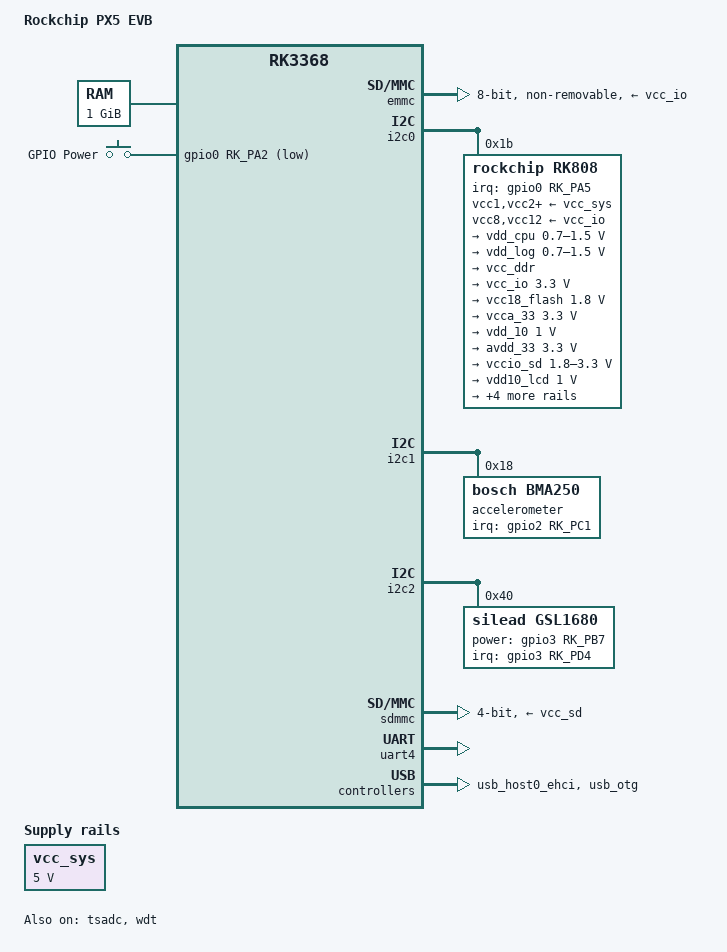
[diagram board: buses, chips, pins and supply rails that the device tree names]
// SPDX-License-Identifier: (GPL-2.0+ OR MIT)
/*
 * Copyright (c) 2016 Fuzhou Rockchip Electronics Co., Ltd
 */

/dts-v1/;
#include "rk3368.dtsi"
#include <dt-bindings/input/input.h>

/ {
	model = "Rockchip PX5 EVB";
	compatible = "rockchip,px5-evb", "rockchip,px5", "rockchip,rk3368";

	chosen {
		stdout-path = "serial4:115200n8";
	};

	memory@0 {
		reg = <0x0 0x0 0x0 0x40000000>;
		device_type = "memory";
	};

	keys: gpio-keys {
		compatible = "gpio-keys";
		pinctrl-names = "default";
		pinctrl-0 = <&pwr_key>;

		power {
			gpios = <&gpio0 RK_PA2 GPIO_ACTIVE_LOW>;
			label = "GPIO Power";
			linux,code = <KEY_POWER>;
			wakeup-source;
		};
	};

	vcc_sys: vcc-sys-regulator {
		compatible = "regulator-fixed";
		regulator-name = "vcc_sys";
		regulator-min-microvolt = <5000000>;
		regulator-max-microvolt = <5000000>;
		regulator-always-on;
		regulator-boot-on;
	};
};

&emmc {
	status = "okay";
	bus-width = <8>;
	cap-mmc-highspeed;
	clock-frequency = <150000000>;
	disable-wp;
	mmc-hs200-1_8v;
	no-sdio;
	no-sd;
	non-removable;
	pinctrl-names = "default";
	pinctrl-0 = <&emmc_clk>, <&emmc_cmd>, <&emmc_bus8>;
	vmmc-supply = <&vcc_io>;
	vqmmc-supply = <&vcc18_flash>;
};

&i2c0 {
	status = "okay";

	rk808: pmic@1b {
		compatible = "rockchip,rk808";
		reg = <0x1b>;
		interrupt-parent = <&gpio0>;
		interrupts = <RK_PA5 IRQ_TYPE_LEVEL_LOW>;
		pinctrl-names = "default";
		pinctrl-0 = <&pmic_int>, <&pmic_sleep>;
		rockchip,system-power-controller;
		vcc1-supply = <&vcc_sys>;
		vcc2-supply = <&vcc_sys>;
		vcc3-supply = <&vcc_sys>;
		vcc4-supply = <&vcc_sys>;
		vcc6-supply = <&vcc_sys>;
		vcc7-supply = <&vcc_sys>;
		vcc8-supply = <&vcc_io>;
		vcc9-supply = <&vcc_sys>;
		vcc10-supply = <&vcc_sys>;
		vcc11-supply = <&vcc_sys>;
		vcc12-supply = <&vcc_io>;
		clock-output-names = "xin32k", "rk808-clkout2";
		#clock-cells = <1>;

		regulators {
			vdd_cpu: DCDC_REG1 {
				regulator-always-on;
				regulator-boot-on;
				regulator-min-microvolt = <700000>;
				regulator-max-microvolt = <1500000>;
				regulator-name = "vdd_cpu";
			};

			vdd_log: DCDC_REG2 {
				regulator-always-on;
				regulator-boot-on;
				regulator-min-microvolt = <700000>;
				regulator-max-microvolt = <1500000>;
				regulator-name = "vdd_log";
			};

			vcc_ddr: DCDC_REG3 {
				regulator-always-on;
				regulator-boot-on;
				regulator-name = "vcc_ddr";
			};

			vcc_io: DCDC_REG4 {
				regulator-always-on;
				regulator-boot-on;
				regulator-min-microvolt = <3300000>;
				regulator-max-microvolt = <3300000>;
				regulator-name = "vcc_io";
			};

			vcc18_flash: LDO_REG1 {
				regulator-always-on;
				regulator-boot-on;
				regulator-min-microvolt = <1800000>;
				regulator-max-microvolt = <1800000>;
				regulator-name = "vcc18_flash";
			};

			vcca_33: LDO_REG2 {
				regulator-always-on;
				regulator-boot-on;
				regulator-min-microvolt = <3300000>;
				regulator-max-microvolt = <3300000>;
				regulator-name = "vcca_33";
			};

			vdd_10: LDO_REG3 {
				regulator-always-on;
				regulator-boot-on;
				regulator-min-microvolt = <1000000>;
				regulator-max-microvolt = <1000000>;
				regulator-name = "vdd_10";
			};

			avdd_33: LDO_REG4 {
				regulator-min-microvolt = <3300000>;
				regulator-max-microvolt = <3300000>;
				regulator-name = "avdd_33";
			};

			vccio_sd: LDO_REG5 {
				regulator-always-on;
				regulator-boot-on;
				regulator-min-microvolt = <1800000>;
				regulator-max-microvolt = <3300000>;
				regulator-name = "vccio_sd";
			};

			vdd10_lcd: LDO_REG6 {
				regulator-always-on;
				regulator-boot-on;
				regulator-min-microvolt = <1000000>;
				regulator-max-microvolt = <1000000>;
				regulator-name = "vdd10_lcd";
			};

			vcc_18: LDO_REG7 {
				regulator-always-on;
				regulator-boot-on;
				regulator-min-microvolt = <1800000>;
				regulator-max-microvolt = <1800000>;
				regulator-name = "vcc_18";
			};

			vcc18_lcd: LDO_REG8 {
				regulator-always-on;
				regulator-boot-on;
				regulator-min-microvolt = <1800000>;
				regulator-max-microvolt = <1800000>;
				regulator-name = "vcc18_lcd";
			};

			vcc_sd: SWITCH_REG1 {
				regulator-name = "vcc_sd";
			};

			vcc33_lcd: SWITCH_REG2 {
				regulator-always-on;
				regulator-boot-on;
				regulator-name = "vcc33_lcd";
			};
		};
	};
};

&i2c1 {
	status = "okay";

	accelerometer@18 {
		compatible = "bosch,bma250";
		reg = <0x18>;
		interrupt-parent = <&gpio2>;
		interrupts = <RK_PC1 IRQ_TYPE_LEVEL_LOW>;
	};
};

&i2c2 {
	status = "okay";

	gsl1680: touchscreen@40 {
		compatible = "silead,gsl1680";
		reg = <0x40>;
		interrupt-parent = <&gpio3>;
		interrupts = <RK_PD4 IRQ_TYPE_EDGE_FALLING>;
		power-gpios = <&gpio3 RK_PB7 GPIO_ACTIVE_HIGH>;
		touchscreen-size-x = <800>;
		touchscreen-size-y = <1280>;
		silead,max-fingers = <5>;
	};
};

&pinctrl {
	keys {
		pwr_key: pwr-key {
			rockchip,pins = <0 2 RK_FUNC_GPIO &pcfg_pull_none>;
		};
	};

	pmic {
		pmic_sleep: pmic-sleep {
			rockchip,pins = <0 0 RK_FUNC_2 &pcfg_pull_none>;
		};

		pmic_int: pmic-int {
			rockchip,pins = <0 5 RK_FUNC_GPIO &pcfg_pull_up>;
		};
	};
};

&sdmmc {
	status = "okay";
	bus-width = <4>;
	cap-mmc-highspeed;
	cap-sd-highspeed;
	card-detect-delay = <200>;
	no-emmc;
	no-sdio;
	sd-uhs-sdr12;
	sd-uhs-sdr25;
	pinctrl-names = "default";
	pinctrl-0 = <&sdmmc_clk>, <&sdmmc_cmd>, <&sdmmc_bus4>, <&sdmmc_cd>;
	rockchip,default-sample-phase = <90>;
	vmmc-supply = <&vcc_sd>;
	vqmmc-supply = <&vccio_sd>;
};

&tsadc {
	status = "okay";
	rockchip,hw-tshut-mode = <0>; /* CRU */
	rockchip,hw-tshut-polarity = <1>; /* high */
};

&uart4 {
	status = "okay";
};

&usb_host0_ehci {
	status = "okay";
};

&usb_otg {
	status = "okay";
};

&wdt {
	status = "okay";
};
